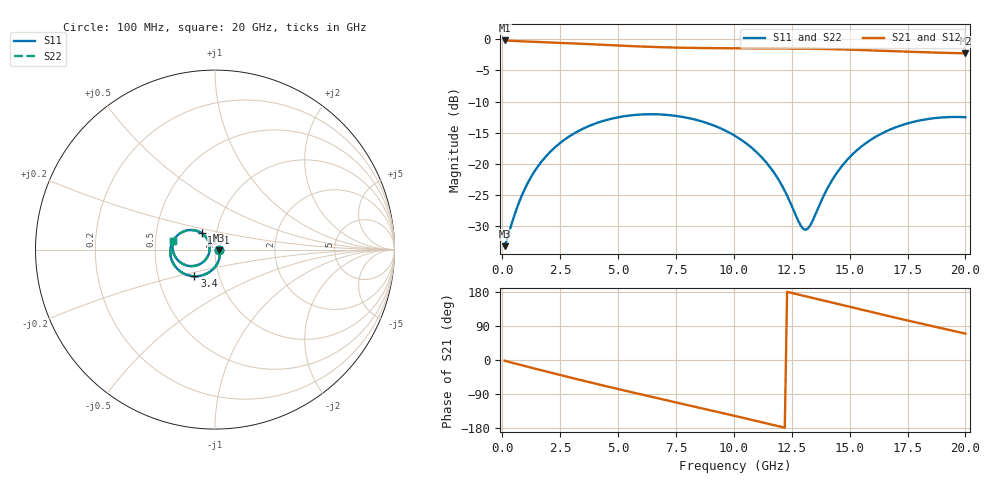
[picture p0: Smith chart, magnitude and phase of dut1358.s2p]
! Touchstone file exported from HFSS 2026.1.0
!  File:  C:/ffzhzh/LocalFiles/Ansys_Project_Files/temp_train_TSV_RDL_1358_1783341777_39728.aedt
!  Generated:  08:50:07 PM Jul  6, 2026
!  Design:  TSV_RDL
!  Project:  temp_train_TSV_RDL_1358_1783341777_39728
! Variables:
!  h_bsmrdl = 5.33um
!  h_ox = 20um
!  h_rdl = 5um
!  h_sub = 65.2um
!  h_tmrdl = 2.86um
!  h_tsv = 65.2um
!  h_via = 3um
!  l_bsmrdl = 735.95um
!  l_sub = 4742.99um
!  l_tmrdl = 504.19um
!  m_sub = 200um
!  pitch = 22.67um
!  r_tsv = 10.64um
!  s_tmrdl = 10um
!  w_bsmrdl = 19.12um
!  w_sub = 500um
!  w_tmrdl = 20.34um
!  x_tsv_center1 = 514.36um
!  x_tsv_center2 = 1269.43um
!  x_tsv_center3 = 1793.96um
!  x_tsv_center4 = 2549.03um
!  x_tsv_center5 = 3073.56um
!  x_tsv_center6 = 3828.63um
# GHz S MA R 50.000000
! Terminal data exported
! Port[1] = TM_RDL1_1_T1
! Port[2] = TM_RDL5_1_T1
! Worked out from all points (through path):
!   200 points, 100 MHz to 20 GHz, reference 50 ohm
!   highest |S21| = -0.19 dB at 100 MHz (marker M1); lowest = -2.3 dB at 20 GHz (marker M2)
!   group delay of S21, straight-line fit = 40 ps
!   lowest |S11| = -33.2 dB at 100 MHz (marker M3), VSWR 1.04, Z = 52.2 - j0.283 ohm
!   |S11| at or under -10 dB: start of sweep to end of sweep
!   |S22| runs from -33.2 to -12.0 dB; largest |S21 - S12| = 3.8e-14
!   S11 on the Smith chart (normalised r, x): 100 MHz: 1.04, -0.01; 3.4 GHz: 0.76, -0.23; 11.1 GHz: 0.85, +0.16; 20 GHz: 0.62, +0.06
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0.1  0.02177 -7.2  0.9783 -1.8  0.9783 -1.8  0.02177 -7.2
! Gamma 0 0 0 0
! Port Impedance 50 0 50 0
0.8  0.05313 -62.1  0.9638 -13.2  0.9638 -13.2  0.05313 -62.1
1.4  0.08731 -85.1  0.9548 -22.6  0.9548 -22.6  0.08732 -85.1
2.3  0.1367 -107.1  0.9408 -36.5  0.9408 -36.5  0.1367 -107.1
3.4  0.1878 -127.7  0.9208 -53.2  0.9208 -53.2  0.1878 -127.7
3.5  0.1918 -129.4  0.9189 -54.7  0.9189 -54.7  0.1918 -129.4
4.3  0.2191 -142.5  0.9035 -66.5  0.9035 -66.5  0.2191 -142.5
5.1  0.238 -154.7  0.8889 -78.1  0.8889 -78.1  0.238 -154.7
6.8  0.249 -179.1  0.8642 -102.1  0.8642 -102.1  0.249 -179.0
8.4  0.2245 159.6  0.8512 -124.4  0.8512 -124.4  0.2246 159.7
10.1  0.1654 138.8  0.8465 -148.4  0.8465 -148.4  0.1655 138.9
11.1  0.118 129.0  0.8456 -162.7  0.8456 -162.7  0.1181 129.2
12  0.07087 126.5  0.8443 -175.7  0.8443 -175.7  0.07106 126.8
13  0.02998 167.3  0.8409 169.6  0.8409 169.6  0.0304 167.3
13.2  0.03019 -172.7  0.8399 166.7  0.8399 166.7  0.03059 -172.9
13.4  0.03476 -155.9  0.8387 163.7  0.8387 163.7  0.0351 -156.4
14.1  0.06634 -134.2  0.8338 153.4  0.8338 153.4  0.06648 -134.5
14.8  0.1027 -134.3  0.8273 143.2  0.8273 143.2  0.1027 -134.5
15.7  0.1463 -141.6  0.8172 130.0  0.8172 130.0  0.1463 -141.8
16.7  0.1865 -152.5  0.8048 115.7  0.8048 115.7  0.1865 -152.6
18.3  0.2275 -171.5  0.7857 93.1  0.7857 93.1  0.2275 -171.6
20  0.2365 168.1  0.7713 69.6  0.7713 69.6  0.2365 168.1
